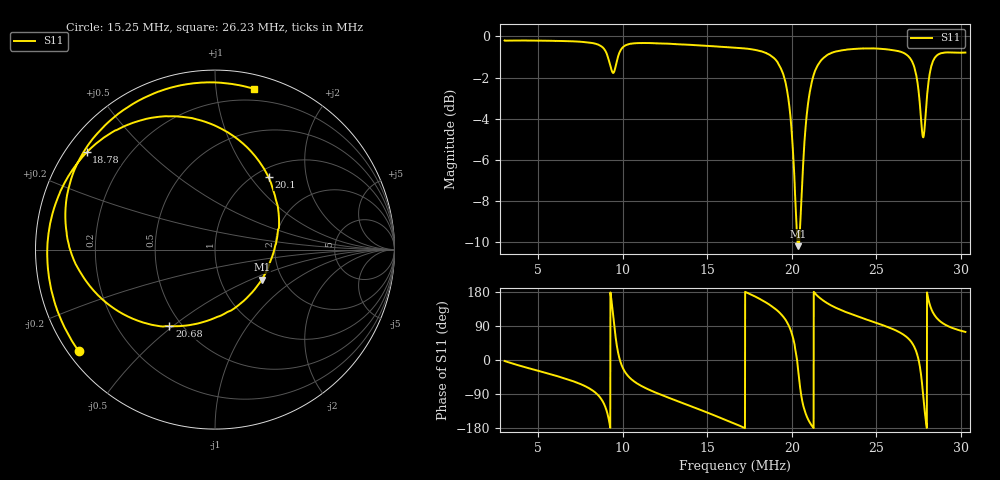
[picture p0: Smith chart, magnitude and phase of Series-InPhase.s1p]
# HZ S RI R 50
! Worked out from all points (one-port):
!   2727 points, 3 MHz to 30.27 MHz, reference 50 ohm
!   lowest |S11| = -10.2 dB at 20.39 MHz (marker M1), VSWR 1.90, Z = 78.7 - j29.1 ohm
!   |S11| at or under -10 dB: 20.33793 MHz to 20.42873 MHz (90.8 kHz wide, 0.445 % of centre)
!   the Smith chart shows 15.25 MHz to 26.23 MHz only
!   S11 on the Smith chart (normalised r, x): 15.25 MHz: 0.03, -0.33; 18.78 MHz: 0.06, +0.33; 20.1 MHz: 1.14, +1.23; 20.68 MHz: 0.43, -0.49; 26.23 MHz: 0.11, +1.26
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3000000  0.976 -0.0437
6411364  0.67 -0.7076
8652260  -0.1466 -0.9387
8992396  -0.5626 -0.7252
9222488  -0.8468 -0.1429
9502600  0.0653 0.8225
9662664  0.7429 0.4688
9822728  0.9184 -0.000679
1.017287e7  0.7834 -0.541
1.07431e7  0.4952 -0.8253
1.323409e7  -0.3046 -0.9072
1.52549e7  -0.7592 -0.5659
1.663545e7  -0.9189 -0.1913
1.877631e7  -0.7148 0.5416
1.961664e7  -0.2249 0.7427
2.004682e7  0.2544 0.4794
2.009684e7  0.2981 0.4037
2.038695e7  0.2607 -0.1673
2.067707e7  -0.2537 -0.4269
2.143737e7  -0.8286 0.1086
2.345818e7  -0.4933 0.7891
2.622929e7  0.2154 0.8964
2.686954e7  0.4796 0.7582
2.746978e7  0.7509 0.0794
2.77599e7  0.0303 -0.5693
2.803001e7  -0.7278 0.1221
2.848019e7  -0.3911 0.799
3.02709e7  0.2507 0.8785
